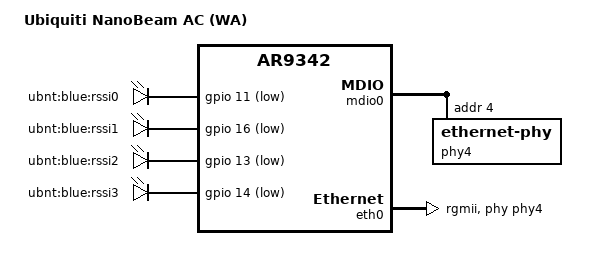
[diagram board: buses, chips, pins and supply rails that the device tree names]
// SPDX-License-Identifier: GPL-2.0-only

#include "ar9342_ubnt_wa.dtsi"

/ {
	compatible = "ubnt,nanobeam-ac", "ubnt,wa", "qca,ar9342";
	model = "Ubiquiti NanoBeam AC (WA)";

	aliases {
		led-boot = &led_rssi3;
		led-failsafe = &led_rssi3;
		led-upgrade = &led_rssi3;
	};

	leds {
		compatible = "gpio-leds";

		rssi0 {
			label = "ubnt:blue:rssi0";
			gpios = <&gpio 11 GPIO_ACTIVE_LOW>;
		};

		rssi1 {
			label = "ubnt:blue:rssi1";
			gpios = <&gpio 16 GPIO_ACTIVE_LOW>;
		};

		rssi2 {
			label = "ubnt:blue:rssi2";
			gpios = <&gpio 13 GPIO_ACTIVE_LOW>;
		};

		led_rssi3: rssi3 {
			label = "ubnt:blue:rssi3";
			gpios = <&gpio 14 GPIO_ACTIVE_LOW>;
		};
	};
};

&mdio0 {
	status = "okay";

	phy-mask = <4>;
	phy4: ethernet-phy@4 {
		phy-mode = "rgmii";
		reg = <4>;
	};
};

&eth0 {
	status = "okay";

	/* default for ar934x, except for 1000M and 10M */
	pll-data = <0x06000000 0x00000101 0x00001313>;

	mtd-mac-address = <&art 0x0>;

	phy-mode = "rgmii";
	phy-handle = <&phy4>;

	gmac-config {
		device = <&gmac>;
		rxd-delay = <3>;
		rxdv-delay = <3>;
	};
};
